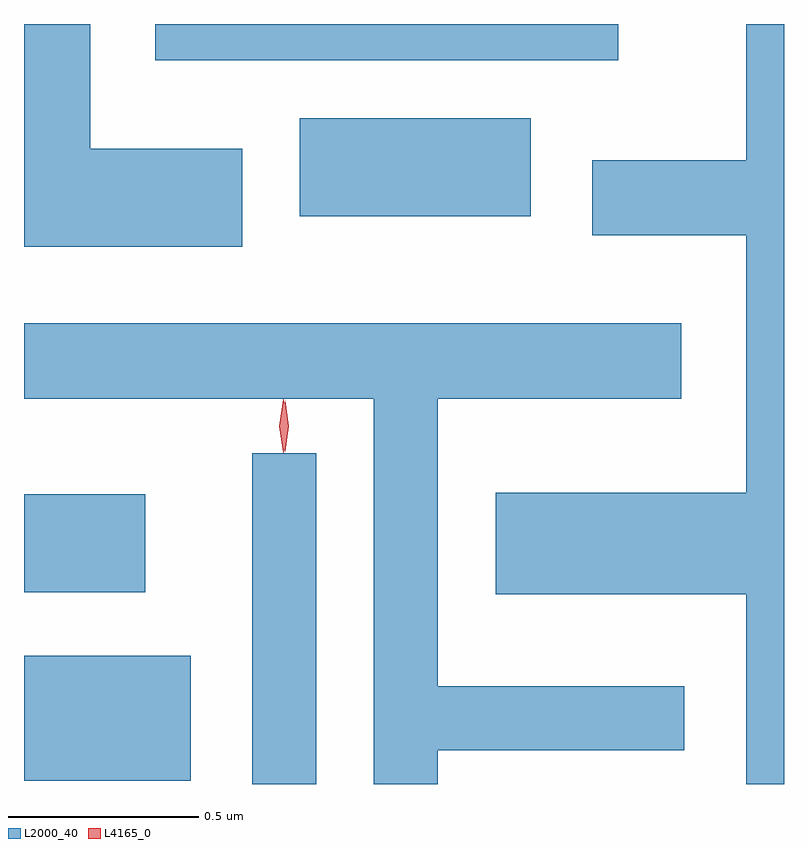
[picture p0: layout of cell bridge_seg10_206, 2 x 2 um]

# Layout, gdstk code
import gdstk
lib = gdstk.Library(unit=1e-6, precision=1e-09)
def R(c, l, rs):  # rectangles x0, y0, x1, y1
    for r in rs: c.add(gdstk.rectangle(r[:2], r[2:], *l))
def P(c, l, *ps):  # polygons
    for p in ps: c.add(gdstk.Polygon(p, *l))
L2000_40 = (2000, 40)
L4165_0 = (4165, 0)

bridge_seg10_206 = lib.new_cell('bridge_seg10_206')
R(bridge_seg10_206, L2000_40, [(1856.551,2141.302,1856.719,2142.173), (1855.95,2141.311,1856.389,2141.639), (1855.95,2141.806,1856.269,2142.064), (1856.676,2142.796,1857.284,2143.054), (1856.296,2143.206,1857.514,2143.302)])
P(bridge_seg10_206, L2000_40, [(1857.95,2143.302),(1857.851,2143.302),(1857.851,2142.944),(1857.446,2142.944),(1857.446,2142.746),(1857.851,2142.746),(1857.851,2142.069),(1857.191,2142.069),(1857.191,2141.801),(1857.851,2141.801),(1857.851,2141.302),(1857.95,2141.302)],
  [(1856.524,2142.974),(1856.124,2142.974),(1856.124,2143.302),(1855.95,2143.302),(1855.95,2142.716),(1856.524,2142.716)],
  [(1857.039,2141.391),(1857.688,2141.391),(1857.688,2141.559),(1857.039,2141.559),(1857.039,2142.316),(1857.679,2142.316),(1857.679,2142.514),(1855.95,2142.514),(1855.95,2142.316),(1856.871,2142.316),(1856.871,2141.302),(1857.039,2141.302)])
P(bridge_seg10_206, L4165_0, [(1856.632,2142.174),(1856.632,2142.175),(1856.622,2142.244),(1856.632,2142.313),(1856.632,2142.314),(1856.633,2142.313),(1856.642,2142.244),(1856.633,2142.175)],
  [(1856.636,2142.178),(1856.627,2142.244),(1856.637,2142.31),(1856.637,2142.311),(1856.638,2142.31),(1856.647,2142.244),(1856.637,2142.178),(1856.637,2142.178)])

lib.write_gds('bridge_seg10_206.gds')
